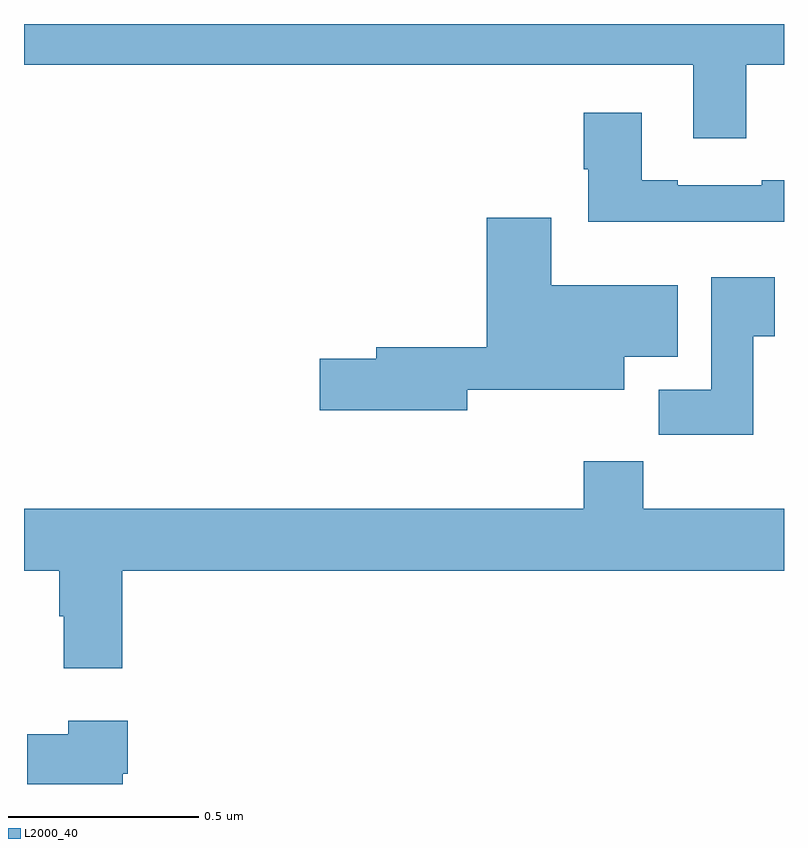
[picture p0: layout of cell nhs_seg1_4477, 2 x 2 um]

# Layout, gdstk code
import gdstk
lib = gdstk.Library(unit=1e-6, precision=1e-09)
def P(c, l, *ps):  # polygons
    for p in ps: c.add(gdstk.Polygon(p, *l))
L2000_40 = (2000, 40)

nhs_seg1_4477 = lib.new_cell('nhs_seg1_4477')
P(nhs_seg1_4477, L2000_40, [(168.901,525.092),(169,525.092),(169,525.199),(167,525.199),(167,525.092),(168.761,525.092),(168.761,524.898),(168.901,524.898)],
  [(169,524.788),(168.941,524.788),(168.941,524.775),(168.721,524.775),(168.721,524.788),(168.625,524.788),(168.625,524.965),(168.473,524.965),(168.473,524.817),(168.485,524.817),(168.485,524.678),(169,524.678)],
  [(168.166,524.237),(168.58,524.237),(168.58,524.324),(168.721,524.324),(168.721,524.512),(168.388,524.512),(168.388,524.689),(168.218,524.689),(168.218,524.348),(167.927,524.348),(167.927,524.318),(167.778,524.318),(167.778,524.183),(168.166,524.183)],
  [(168.919,524.377),(168.976,524.377),(168.976,524.533),(168.809,524.533),(168.809,524.236),(168.67,524.236),(168.67,524.118),(168.919,524.118)],
  [(167.258,523.76),(169,523.76),(169,523.924),(168.629,523.924),(168.629,524.048),(168.473,524.048),(168.473,523.924),(167,523.924),(167,523.76),(167.093,523.76),(167.093,523.64),(167.105,523.64),(167.105,523.503),(167.258,523.503)],
  [(167.26,523.226),(167.273,523.226),(167.273,523.366),(167.117,523.366),(167.117,523.33),(167.009,523.33),(167.009,523.199),(167.26,523.199)])

lib.write_gds('nhs_seg1_4477.gds')
